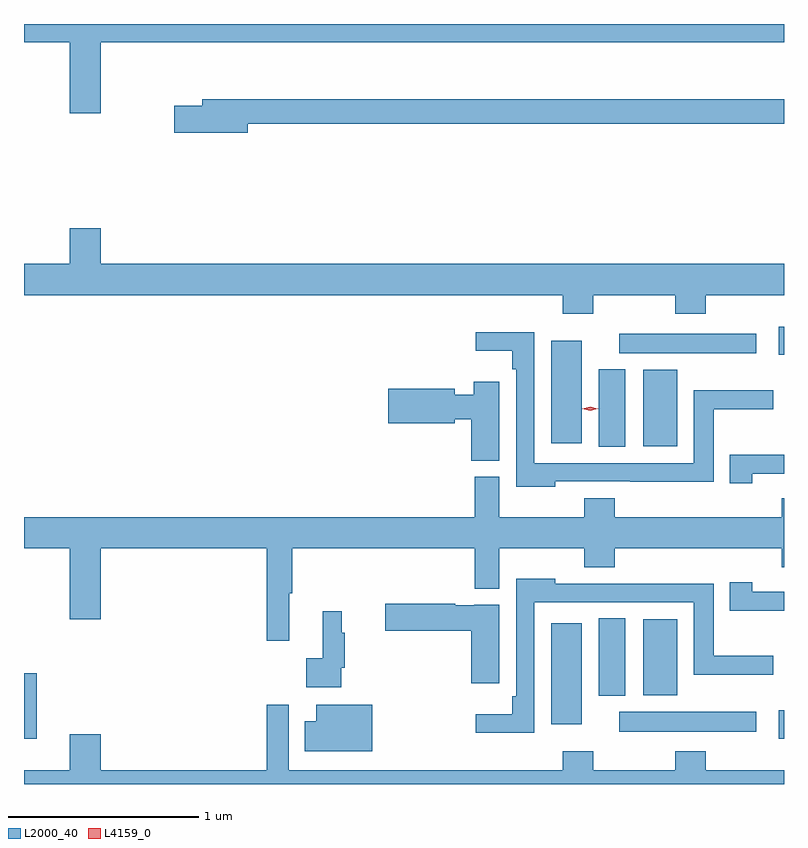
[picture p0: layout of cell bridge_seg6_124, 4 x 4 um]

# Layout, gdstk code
import gdstk
lib = gdstk.Library(unit=1e-6, precision=1e-09)
def R(c, l, rs):  # rectangles x0, y0, x1, y1
    for r in rs: c.add(gdstk.rectangle(r[:2], r[2:], *l))
def P(c, l, *ps):  # polygons
    for p in ps: c.add(gdstk.Polygon(p, *l))
L2000_40 = (2000, 40)
L4159_0 = (4159, 0)

bridge_seg6_124 = lib.new_cell('bridge_seg6_124')
R(bridge_seg6_124, L2000_40, [(392.54,987.626,392.608,987.97), (396.513,987.626,396.54,987.776), (395.673,987.662,396.394,987.766), (395.315,987.702,395.476,988.234), (395.564,987.851,395.704,988.259), (395.798,987.854,395.977,988.255), (395.564,989.161,395.704,989.569), (395.798,989.165,395.977,989.566), (395.315,989.181,395.476,989.719), (396.513,989.645,396.54,989.794), (395.673,989.654,396.394,989.758)])
P(bridge_seg6_124, L2000_40, [(392.944,991.292),(396.54,991.292),(396.54,991.387),(392.54,991.387),(392.54,991.292),(392.78,991.292),(392.78,990.918),(392.944,990.918)],
  [(393.718,990.862),(396.54,990.862),(396.54,990.991),(393.479,990.991),(393.479,990.957),(393.33,990.957),(393.33,990.815),(393.718,990.815)],
  [(395.535,989.96),(395.968,989.96),(395.968,989.861),(396.128,989.861),(396.128,989.96),(396.54,989.96),(396.54,990.124),(392.944,990.124),(392.944,990.313),(392.78,990.313),(392.78,990.124),(392.54,990.124),(392.54,989.96),(395.375,989.96),(395.375,989.861),(395.535,989.861)],
  [(395.337,988.98),(395.731,988.98),(395.731,988.979),(396.169,988.979),(396.169,989.359),(396.484,989.359),(396.484,989.459),(396.065,989.459),(396.065,989.076),(395.226,989.076),(395.226,989.765),(394.917,989.765),(394.917,989.666),(395.11,989.666),(395.11,989.57),(395.13,989.57),(395.13,988.952),(395.337,988.952)],
  [(395.041,989.503),(394.907,989.503),(394.907,989.437),(394.806,989.437),(394.806,989.468),(394.458,989.468),(394.458,989.285),(394.806,989.285),(394.806,989.308),(394.895,989.308),(394.895,989.089),(395.041,989.089)],
  [(396.372,989.021),(396.54,989.021),(396.54,989.121),(396.254,989.121),(396.254,988.971),(396.372,988.971)],
  [(393.935,988.392),(393.953,988.392),(393.953,988.628),(394.913,988.628),(394.913,988.415),(395.041,988.415),(395.041,988.628),(395.488,988.628),(395.488,988.529),(395.648,988.529),(395.648,988.628),(396.527,988.628),(396.527,988.529),(396.54,988.529),(396.54,988.891),(396.527,988.891),(396.527,988.792),(395.648,988.792),(395.648,988.891),(395.488,988.891),(395.488,988.792),(395.041,988.792),(395.041,989.004),(394.913,989.004),(394.913,988.792),(392.54,988.792),(392.54,988.628),(392.78,988.628),(392.78,988.254),(392.944,988.254),(392.944,988.628),(393.817,988.628),(393.817,988.14),(393.935,988.14)],
  [(395.226,988.344),(396.065,988.344),(396.065,987.962),(396.484,987.962),(396.484,988.062),(396.169,988.062),(396.169,988.442),(395.731,988.442),(395.731,988.44),(395.337,988.44),(395.337,988.468),(395.13,988.468),(395.13,987.85),(395.11,987.85),(395.11,987.754),(394.917,987.754),(394.917,987.656),(395.226,987.656)],
  [(396.54,988.399),(396.372,988.399),(396.372,988.45),(396.254,988.45),(396.254,988.3),(396.54,988.3)],
  [(395.041,988.33),(394.911,988.33),(394.911,988.327),(394.811,988.327),(394.811,988.335),(394.44,988.335),(394.44,988.193),(394.895,988.193),(394.895,987.918),(395.041,987.918)],
  [(394.209,988),(394.229,988),(394.229,988.184),(394.212,988.184),(394.212,988.297),(394.112,988.297),(394.112,988.049),(394.026,988.049),(394.026,987.896),(394.209,987.896)],
  [(394.372,987.805),(394.079,987.805),(394.079,987.718),(394.018,987.718),(394.018,987.56),(394.372,987.56)],
  [(396.54,987.46),(396.128,987.46),(396.128,987.559),(395.968,987.559),(395.968,987.46),(395.535,987.46),(395.535,987.559),(395.375,987.559),(395.375,987.46),(393.933,987.46),(393.933,987.805),(393.817,987.805),(393.817,987.46),(392.944,987.46),(392.944,987.649),(392.78,987.649),(392.78,987.46),(392.54,987.46),(392.54,987.387),(396.54,987.387)])
P(bridge_seg6_124, L4159_0, [(395.52,989.352),(395.479,989.362),(395.479,989.362),(395.479,989.362),(395.52,989.372),(395.561,989.362),(395.562,989.362),(395.561,989.362)])

lib.write_gds('bridge_seg6_124.gds')
